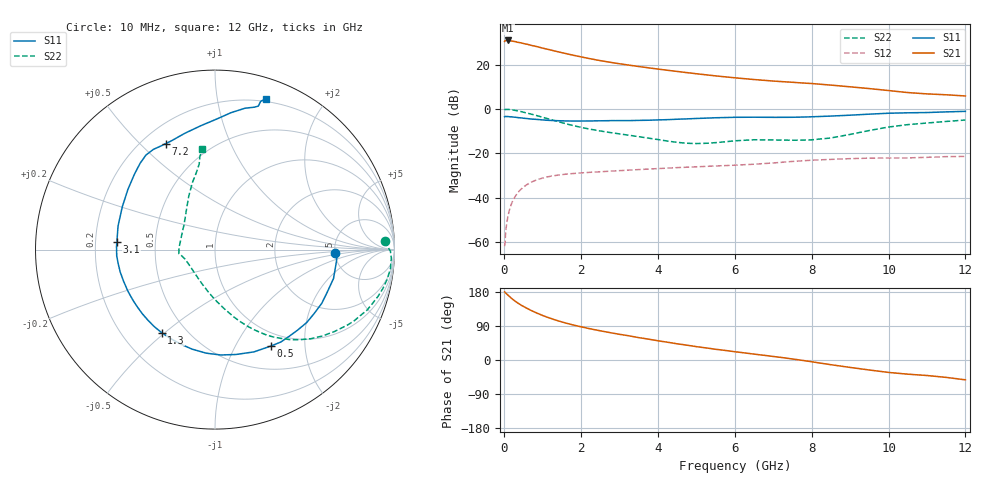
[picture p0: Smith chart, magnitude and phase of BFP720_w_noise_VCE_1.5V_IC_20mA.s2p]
! Infineon Technologies  Discrete & RF Semiconductors
! BFP720
! VCE =  1.5 V,  IC =  20 mA
! Common Emitter S-Parameters:  Aug 2012
# GHz  S  MA  R  50
!  f  S11  S21  S12  S22
! GHz  MAG  ANG  MAG  ANG  MAG  ANG  MAG  ANG
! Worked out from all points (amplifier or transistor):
!   105 points, 10 MHz to 12 GHz, reference 50 ohm
!   highest |S21| = 31.0 dB at 100 MHz (marker M1)
!   |S21| within 3 dB of that: start of sweep to 900.9 MHz
!   unconditionally stable (mu >= 1): start of sweep to 14.13 MHz; 4.183 GHz to 11.16 GHz
!   at 300 MHz: K = 0.14, MSG = 34.8 dB, |S12| = -39.1 dB
!   at 3.6 GHz: K = 0.92, MSG = 23.1 dB, |S12| = -27.3 dB
!   at 12 GHz: K = 0.80, MSG = 13.7 dB, |S12| = -21.4 dB
!   lowest NFmin = 0.77 dB at 450 MHz
!   S11 on the Smith chart (normalised r, x): 10 MHz: 5.04, -0.30; 500 MHz: 0.81, -1.41; 1.3 GHz: 0.37, -0.49; 3.1 GHz: 0.29, +0.03; 7.2 GHz: 0.29, +0.60; 12 GHz: 0.17, +1.38
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0.01  0.6697 -1.4  33.7 179.8  0.0008 -37.0  0.9459 2.9
0.02  0.682 -2.6  35.17 178.4  0.0009 102.3  0.9772 -0.5
0.1  0.6797 -13.7  35.49 170.9  0.0039 83.3  0.9832 -6.4
0.2  0.666 -26.7  34.42 161.9  0.0077 77.8  0.9606 -13.0
0.3  0.6529 -38.5  33.3 154.1  0.0111 73.4  0.9271 -18.9
0.45  0.6322 -54.5  31.18 144.2  0.0158 66.8  0.8723 -26.9
0.5  0.6213 -59.8  30.23 141.4  0.0173 64.7  0.85 -29.6
0.6  0.6097 -69.2  29.09 135.9  0.0199 60.7  0.8082 -34.3
0.8  0.588 -86.9  26.36 126.1  0.0243 54.1  0.7304 -42.8
1  0.569 -103.0  23.81 117.5  0.0277 48.4  0.6529 -50.2
1.3  0.5501 -122.8  20.66 106.6  0.0313 41.8  0.551 -59.3
1.7  0.5378 -143.3  17.16 94.9  0.0345 35.8  0.4439 -68.8
2.1  0.5376 -157.9  14.5 85.4  0.0366 32.2  0.371 -76.3
2.6  0.5449 -171.6  12.02 75.1  0.0389 29.3  0.3097 -84.5
3.1  0.5485 175.7  10.26 66.2  0.0411 27.5  0.2674 -92.2
4.1  0.5718 153.1  7.816 49.2  0.0457 24.4  0.1984 -113.1
5  0.6139 137.1  6.283 35.2  0.0497 21.7  0.1666 -146.1
6.1  0.6526 125.2  4.998 20.6  0.0546 19.3  0.194 -171.3
7.2  0.6511 114.8  4.184 6.8  0.0626 17.1  0.1992 173.6
8.5  0.6948 96.5  3.481 -12.4  0.073 8.5  0.2224 140.7
10.5  0.8236 74.5  2.36 -37.4  0.0789 -4.7  0.4451 103.3
12  0.8884 71.3  1.975 -52.3  0.0852 -13.7  0.5657 97.2
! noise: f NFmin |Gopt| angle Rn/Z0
0.45  0.77  0.18  1  0.29
1.8  0.82  0.18  8  0.14
2.4  0.88  0.18  11  0.54
5.5  1.11  0.17  -64  0.18
10  1.26  0.48  -71  0.33
